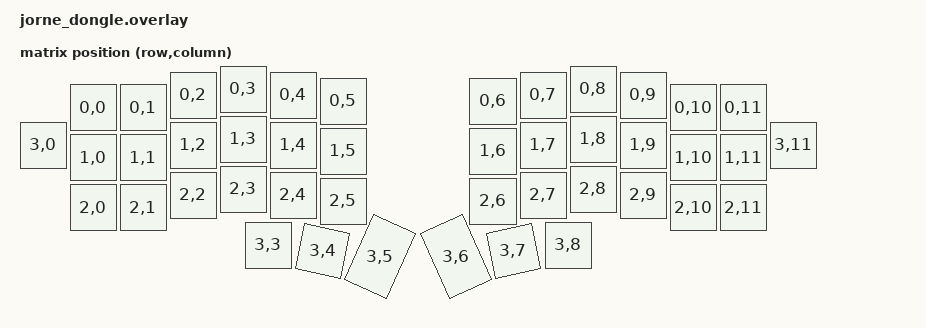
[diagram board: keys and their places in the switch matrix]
#include <dt-bindings/zmk/matrix_transform.h>
#include <physical_layouts.dtsi>

/ {
    chosen {
        zmk,kscan = &mock_kscan;
        zmk,physical-layout = &joric_jorne_full_layout;
    };

    mock_kscan: mock_kscan_0 {
        compatible = "zmk,kscan-mock";
        columns = <0>;
        rows = <0>;
        events = <0>;
    };

    jorne_transform: keymap_transform_0 {
        compatible = "zmk,matrix-transform";
        columns = <12>;
        rows = <4>;
// | SW0  | SW1  | SW2  | SW3  | SW4  | SW5  | SW6  |   | SW6  | SW5  | SW4  | SW3  | SW2  | SW1  | SW0  |
// |      | SW7  | SW8  | SW9  | SW10 | SW11 | SW12 |   | SW12 | SW11 | SW10 | SW9  | SW8  | SW7  |
// |      | SW13 | SW14 | SW15 | SW16 | SW17 | SW18 |   | SW18 | SW17 | SW16 | SW15 | SW14 | SW13 |
//                             | SW19 | SW20 | SW21 |   | SW21 | SW20 | SW19 |
        map = <
    RC(3,0) RC(0,0) RC(0,1) RC(0,2) RC(0,3) RC(0,4) RC(0,5)  RC(0,6) RC(0,7) RC(0,8) RC(0,9) RC(0,10) RC(0,11) RC(3,11)
            RC(1,0) RC(1,1) RC(1,2) RC(1,3) RC(1,4) RC(1,5)  RC(1,6) RC(1,7) RC(1,8) RC(1,9) RC(1,10) RC(1,11)
            RC(2,0) RC(2,1) RC(2,2) RC(2,3) RC(2,4) RC(2,5)  RC(2,6) RC(2,7) RC(2,8) RC(2,9) RC(2,10) RC(2,11)
                                    RC(3,3) RC(3,4) RC(3,5)  RC(3,6) RC(3,7) RC(3,8)
        >;
    };

    joric_jorne_full_layout: joric_jorne_full_layout {
        compatible = "zmk,physical-layout";
        display-name = "Full (with pinky)";
        transform = <&jorne_transform>;
        keys  //                     w   h    x    y     rot    rx    ry
            = <&key_physical_attrs 100 100    0  112       0     0     0>
            , <&key_physical_attrs 100 100  100   37       0     0     0>
            , <&key_physical_attrs 100 100  200   37       0     0     0>
            , <&key_physical_attrs 100 100  300   12       0     0     0>
            , <&key_physical_attrs 100 100  400    0       0     0     0>
            , <&key_physical_attrs 100 100  500   12       0     0     0>
            , <&key_physical_attrs 100 100  600   24       0     0     0>
            , <&key_physical_attrs 100 100  900   24       0     0     0>
            , <&key_physical_attrs 100 100 1000   12       0     0     0>
            , <&key_physical_attrs 100 100 1100    0       0     0     0>
            , <&key_physical_attrs 100 100 1200   12       0     0     0>
            , <&key_physical_attrs 100 100 1300   37       0     0     0>
            , <&key_physical_attrs 100 100 1400   37       0     0     0>
            , <&key_physical_attrs 100 100 1500  112       0     0     0>
            , <&key_physical_attrs 100 100  100  137       0     0     0>
            , <&key_physical_attrs 100 100  200  137       0     0     0>
            , <&key_physical_attrs 100 100  300  112       0     0     0>
            , <&key_physical_attrs 100 100  400  100       0     0     0>
            , <&key_physical_attrs 100 100  500  112       0     0     0>
            , <&key_physical_attrs 100 100  600  124       0     0     0>
            , <&key_physical_attrs 100 100  900  124       0     0     0>
            , <&key_physical_attrs 100 100 1000  112       0     0     0>
            , <&key_physical_attrs 100 100 1100  100       0     0     0>
            , <&key_physical_attrs 100 100 1200  112       0     0     0>
            , <&key_physical_attrs 100 100 1300  137       0     0     0>
            , <&key_physical_attrs 100 100 1400  137       0     0     0>
            , <&key_physical_attrs 100 100  100  237       0     0     0>
            , <&key_physical_attrs 100 100  200  237       0     0     0>
            , <&key_physical_attrs 100 100  300  212       0     0     0>
            , <&key_physical_attrs 100 100  400  200       0     0     0>
            , <&key_physical_attrs 100 100  500  212       0     0     0>
            , <&key_physical_attrs 100 100  600  224       0     0     0>
            , <&key_physical_attrs 100 100  900  224       0     0     0>
            , <&key_physical_attrs 100 100 1000  212       0     0     0>
            , <&key_physical_attrs 100 100 1100  200       0     0     0>
            , <&key_physical_attrs 100 100 1200  212       0     0     0>
            , <&key_physical_attrs 100 100 1300  237       0     0     0>
            , <&key_physical_attrs 100 100 1400  237       0     0     0>
            , <&key_physical_attrs 100 100  450  312       0     0     0>
            , <&key_physical_attrs 100 100  550  312    1200   550   412>
            , <&key_physical_attrs 100 150  648  283    2400   648   433>
            , <&key_physical_attrs 100 150  852  283  (-2400)  952   433>
            , <&key_physical_attrs 100 100  950  312  (-1200) 1050   412>
            , <&key_physical_attrs 100 100 1050  312       0     0     0>
        ;
    };
};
